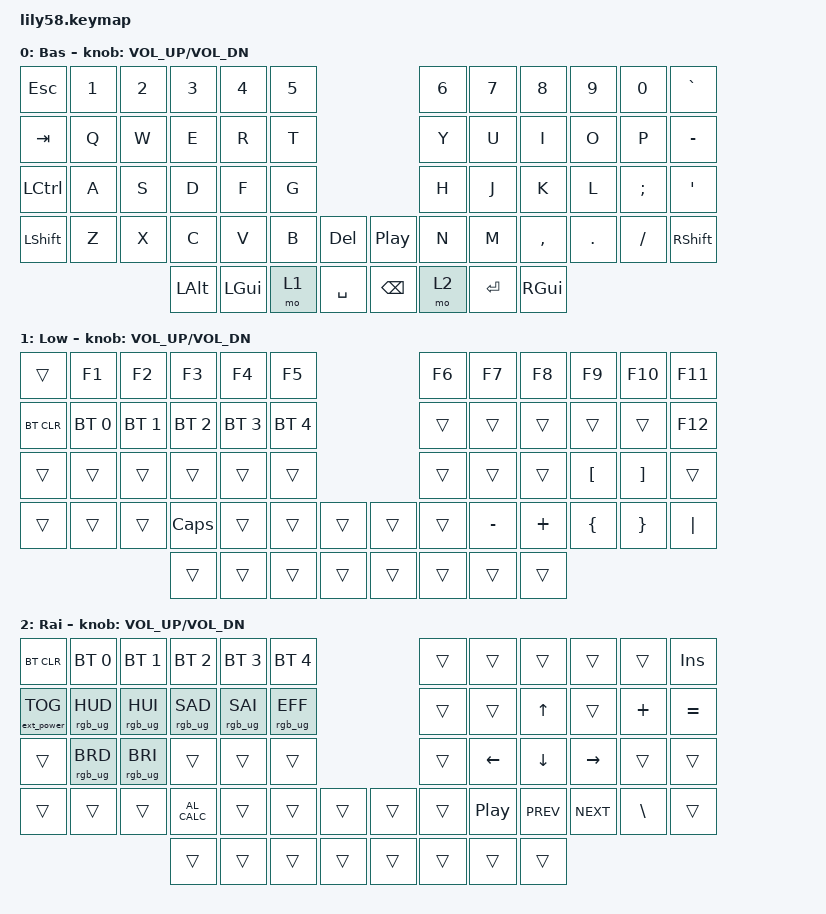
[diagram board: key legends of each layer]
/*
 * Copyright (c) 2020 The ZMK Contributors
 *
 * SPDX-License-Identifier: MIT
 */

#include <behaviors.dtsi>
#include <dt-bindings/zmk/keys.h>
#include <dt-bindings/zmk/bt.h>
#include <dt-bindings/zmk/ext_power.h>
#include <dt-bindings/zmk/rgb.h>
#include <dt-bindings/zmk/backlight.h>
#include <dt-bindings/zmk/reset.h>
#include <dt-bindings/zmk/outputs.h>

&led_strip {
    chain-length = <35>;
};


/ {
    keymap {
        compatible = "zmk,keymap";

        default_layer {
// ------------------------------------------------------------------------------------------------------------
// |  ESC  |  1  |  2  |  3   |  4   |  5   |                     |   6   |  7    |  8    |  9   |   0   |   `   |
// |  TAB  |  Q  |  W  |  E   |  R   |  T   |                     |   Y   |  U    |  I    |  O   |   P   |   -   |
// |  CTRL |  A  |  S  |  D   |  F   |  G   |                     |   H   |  J    |  K    |  L   |   ;   |   '   |
// | SHIFT |  Z  |  X  |  C   |  V   |  B   |  DELETE|  | PLY_PSE |   N   |  M    |  ,    |  .   |   /   | SHIFT |
//                     | ALT  | GUI  | LOWER|  SPACE |  |   BSPC  | RAISE | ENTER | GUI   |
            display-name = "Bas";
            bindings = <
&kp ESC   &kp N1 &kp N2 &kp N3   &kp N4   &kp N5                            &kp N6    &kp N7    &kp N8    &kp N9   &kp N0   &kp GRAVE
&kp TAB   &kp Q  &kp W  &kp E    &kp R    &kp T                             &kp Y     &kp U     &kp I     &kp O    &kp P    &kp MINUS
&kp LCTRL &kp A  &kp S  &kp D    &kp F    &kp G                             &kp H     &kp J     &kp K     &kp L    &kp SEMI &kp SQT
&kp LSHFT &kp Z  &kp X  &kp C    &kp V    &kp B  &kp DEL        &kp C_PP    &kp N     &kp M     &kp COMMA &kp DOT  &kp FSLH &kp RSHFT
                        &kp LALT &kp LGUI &mo 1  &kp SPACE      &kp BSPC    &mo 2     &kp ENTER &kp RGUI
            >;

            sensor-bindings = <&inc_dec_kp C_VOL_UP C_VOL_DN>;
        };

        lower_layer {
// ------------------------------------------------------------------------------------------------------------
// |       | F1  |  F2 |  F3  |  F4  |  F5  |                   |  F6  |  F7   |  F8   |  F9  |  F10  |  F11  |
// | BTCLR | BT1 | BT2 |  BT3 | BT4  | BT6  |                   |      |       |       |      |       |  F12  |
// |       |     |     |      |      |      |                   |      |       |       |  [   |   ]   |       |
// |       |     |     | CLCK |      |      |        |  |       |      |  _    |  +    |  {   |   }   |  "|"  |
//                     |      |      |      |        |  |       |      |       |       |
            display-name = "Low";
            bindings = <
&trans     &kp F1           &kp F2            &kp F3            &kp F4       &kp F5                       &kp F6    &kp F7    &kp F8    &kp F9    &kp F10       &kp F11   
&bt BT_CLR &bt BT_SEL 0     &bt BT_SEL 1      &bt BT_SEL 2      &bt BT_SEL 3 &bt BT_SEL 4                 &trans    &trans    &trans    &trans    &trans        &kp F12
&trans     &trans           &trans            &trans            &trans       &trans                       &trans    &trans    &trans    &kp LBKT  &kp RBKT      &trans
&trans     &trans           &trans            &kp CLCK          &trans       &trans    &trans   &trans    &trans    &kp MINUS &kp PLUS  &kp LBRC  &kp RBRC      &kp PIPE
                                              &trans            &trans       &trans    &trans   &trans    &trans    &trans    &trans
            >;

            sensor-bindings = <&inc_dec_kp C_VOL_UP C_VOL_DN>;
        };

        raise_layer {
// ----------------------------------------------------------------------------------------------------------------------------
// | BTCLR  |  BT1    |  BT2    |   BT3   |   BT4   |   BT5   |                |         |         |         |         |         |  INS  |
// | EXTPWR | RGB_HUD | RGB_HUI | RGB_SAD | RGB_SAI | RGB_EFF |                |         |         |    UP   |         |    +    |   =   |
// |        | RGB_BRD | RGB_BRI |         |         |         |                |         |   LEFT  |   DOWN  |  RIGHT  |         |       |
// |        |         |         |   CALC  |         |         |       | |      |         | PLY_PSE | PRV_SNG | NXT_SNG |    \    |       |
//                              |         |         |         |       | |      |         |         |         |      
            display-name = "Rai";
            bindings = <
&bt BT_CLR        &bt BT_SEL 0    &bt BT_SEL 1    &bt BT_SEL 2    &bt BT_SEL 3    &bt BT_SEL 4                           &trans    &trans    &trans      &trans     &trans    &kp INS 
&ext_power EP_TOG &rgb_ug RGB_HUD &rgb_ug RGB_HUI &rgb_ug RGB_SAD &rgb_ug RGB_SAI &rgb_ug RGB_EFF                        &trans    &trans    &kp UP      &trans     &kp PLUS  &kp EQUAL
&trans            &rgb_ug RGB_BRD &rgb_ug RGB_BRI &trans           &trans         &trans                                 &trans    &kp LEFT  &kp DOWN    &kp RIGHT  &trans    &trans
&trans            &trans          &trans          &kp C_AL_CALC    &trans         &trans        &trans           &trans  &trans    &kp C_PP  &kp C_PREV  &kp C_NEXT &kp BSLH  &trans
                                                  &trans           &trans         &trans        &trans           &trans  &trans    &trans    &trans
            >;

            sensor-bindings = <&inc_dec_kp C_VOL_UP C_VOL_DN>;
        };

        extra_1 {
            status = "reserved";
        };

        extra_2 {
            status = "reserved";
        };

        extra_3 {
            status = "reserved";
        };
    };
};
